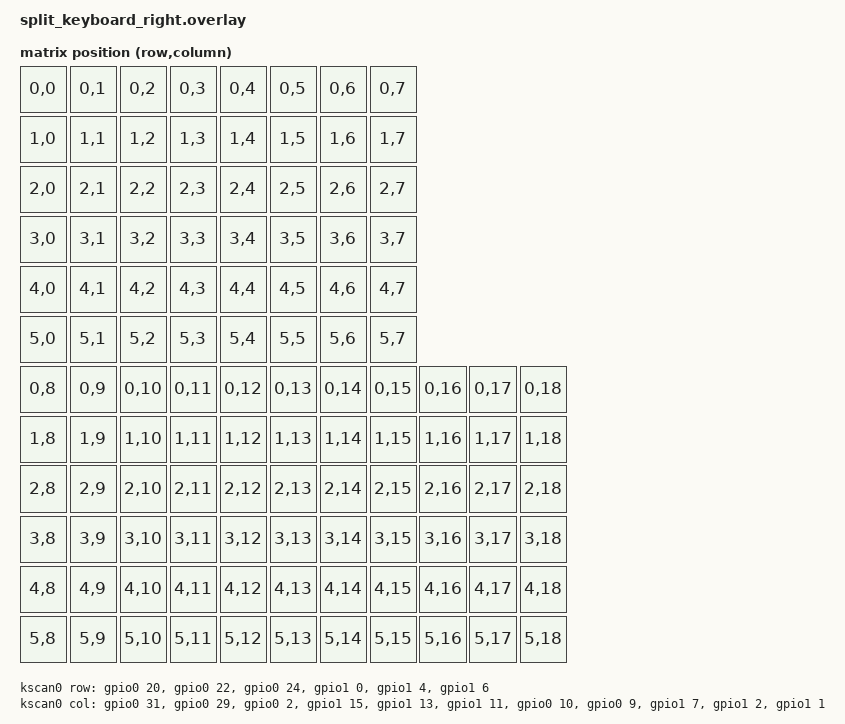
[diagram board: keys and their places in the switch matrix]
#include <dt-bindings/zmk/matrix_transform.h>

// ============================================================
// 오른쪽 핀 매핑 (확정):
//   Row 6  = P0.20 / Row 7  = P0.22 / Row 8  = P0.24
//   Row 9  = P1.00 / Row 10 = P1.04 / Row 11 = P1.06
//   Col 8  = P0.31 / Col 9  = P0.29 / Col 10 = P0.02
//   Col 11 = P1.15 / Col 12 = P1.13 / Col 13 = P1.11
//   Col 14 = P0.10 / Col 15 = P0.09 / Col 16 = P1.07
//   Col 17 = P1.02 / Col 18 = P1.01
//   UART TX = P0.06 (고정) / UART RX = P0.08 (고정)
// ============================================================

&uart0 {
    status = "okay";
};

/ {
    chosen {
        zmk,kscan = &kscan0;
        zmk,matrix_transform = &default_transform;
    };

    default_transform: keymap_transform 0 {
        compatible = "zmk,matrix-transform";
        columns = <19>;
        rows = <6>;
        map = <
            // ===== 왼쪽 (Central) =====
            RC(0,0) RC(0,1) RC(0,2) RC(0,3) RC(0,4) RC(0,5) RC(0,6) RC(0,7)
            RC(1,0) RC(1,1) RC(1,2) RC(1,3) RC(1,4) RC(1,5) RC(1,6) RC(1,7)
            RC(2,0) RC(2,1) RC(2,2) RC(2,3) RC(2,4) RC(2,5) RC(2,6) RC(2,7)
            RC(3,0) RC(3,1) RC(3,2) RC(3,3) RC(3,4) RC(3,5) RC(3,6) RC(3,7)
            RC(4,0) RC(4,1) RC(4,2) RC(4,3) RC(4,4) RC(4,5) RC(4,6) RC(4,7)
            RC(5,0) RC(5,1) RC(5,2) RC(5,3) RC(5,4) RC(5,5) RC(5,6) RC(5,7)

            // ===== 오른쪽 (Peripheral) =====
            RC(0,8)  RC(0,9)  RC(0,10) RC(0,11) RC(0,12) RC(0,13) RC(0,14) RC(0,15) RC(0,16) RC(0,17) RC(0,18)
            RC(1,8)  RC(1,9)  RC(1,10) RC(1,11) RC(1,12) RC(1,13) RC(1,14) RC(1,15) RC(1,16) RC(1,17) RC(1,18)
            RC(2,8)  RC(2,9)  RC(2,10) RC(2,11) RC(2,12) RC(2,13) RC(2,14) RC(2,15) RC(2,16) RC(2,17) RC(2,18)
            RC(3,8)  RC(3,9)  RC(3,10) RC(3,11) RC(3,12) RC(3,13) RC(3,14) RC(3,15) RC(3,16) RC(3,17) RC(3,18)
            RC(4,8)  RC(4,9)  RC(4,10) RC(4,11) RC(4,12) RC(4,13) RC(4,14) RC(4,15) RC(4,16) RC(4,17) RC(4,18)
            RC(5,8)  RC(5,9)  RC(5,10) RC(5,11) RC(5,12) RC(5,13) RC(5,14) RC(5,15) RC(5,16) RC(5,17) RC(5,18)
        >;
    };

    kscan0: kscan {
        compatible = "zmk,kscan-gpio-matrix";
        label = "KSCAN";
        diode-direction = "col2row";

        row-gpios
            = <&gpio0 20 (GPIO_ACTIVE_HIGH | GPIO_PULL_DOWN)>  // Row 6  = P0.20
            , <&gpio0 22 (GPIO_ACTIVE_HIGH | GPIO_PULL_DOWN)>  // Row 7  = P0.22
            , <&gpio0 24 (GPIO_ACTIVE_HIGH | GPIO_PULL_DOWN)>  // Row 8  = P0.24
            , <&gpio1  0 (GPIO_ACTIVE_HIGH | GPIO_PULL_DOWN)>  // Row 9  = P1.00
            , <&gpio1  4 (GPIO_ACTIVE_HIGH | GPIO_PULL_DOWN)>  // Row 10 = P1.04
            , <&gpio1  6 (GPIO_ACTIVE_HIGH | GPIO_PULL_DOWN)>; // Row 11 = P1.06

        col-gpios
            = <&gpio0 31 GPIO_ACTIVE_HIGH>  // Col 8  = P0.31
            , <&gpio0 29 GPIO_ACTIVE_HIGH>  // Col 9  = P0.29
            , <&gpio0  2 GPIO_ACTIVE_HIGH>  // Col 10 = P0.02
            , <&gpio1 15 GPIO_ACTIVE_HIGH>  // Col 11 = P1.15
            , <&gpio1 13 GPIO_ACTIVE_HIGH>  // Col 12 = P1.13
            , <&gpio1 11 GPIO_ACTIVE_HIGH>  // Col 13 = P1.11
            , <&gpio0 10 GPIO_ACTIVE_HIGH>  // Col 14 = P0.10
            , <&gpio0  9 GPIO_ACTIVE_HIGH>  // Col 15 = P0.09
            , <&gpio1  7 GPIO_ACTIVE_HIGH>  // Col 16 = P1.07
            , <&gpio1  2 GPIO_ACTIVE_HIGH>  // Col 17 = P1.02
            , <&gpio1  1 GPIO_ACTIVE_HIGH>; // Col 18 = P1.01
    };
};
